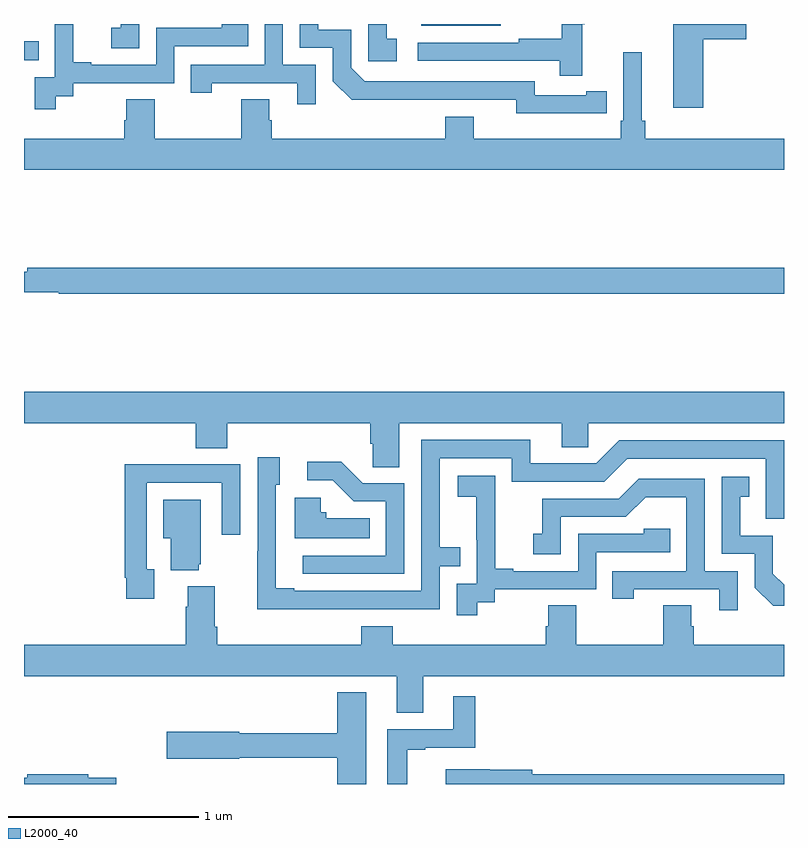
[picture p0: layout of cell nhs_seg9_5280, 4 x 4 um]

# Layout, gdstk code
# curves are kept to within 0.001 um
import gdstk
lib = gdstk.Library(unit=1e-6, precision=1e-09)
def R(c, l, rs):  # rectangles x0, y0, x1, y1
    for r in rs: c.add(gdstk.rectangle(r[:2], r[2:], *l))
def P(c, l, *ps):  # polygons
    for p in ps: c.add(gdstk.Polygon(p, *l))
L2000_40 = (2000, 40)

nhs_seg9_5280 = lib.new_cell('nhs_seg9_5280')
R(nhs_seg9_5280, L2000_40, [(417,1218.309,417.077,1218.41), (419.09,1218.491,419.509,1218.5)])
P(nhs_seg9_5280, L2000_40, [(417.606,1218.5),(417.508,1218.5),(417.508,1218.481),(417.459,1218.481),(417.459,1218.372),(417.606,1218.372)],
  [(417.166,1218.121),(417.258,1218.121),(417.258,1218.189),(417.792,1218.189),(417.792,1218.384),(418.181,1218.384),(418.181,1218.5),(418.041,1218.5),(418.041,1218.48),(417.696,1218.48),(417.696,1218.285),(417.355,1218.285),(417.355,1218.298),(417.26,1218.298),(417.26,1218.5),(417.161,1218.5),(417.161,1218.449),(417.162,1218.449),(417.162,1218.219),(417.057,1218.219),(417.057,1218.051),(417.166,1218.051)],
  [(420.575,1218.419),(420.802,1218.419),(420.802,1218.5),(420.416,1218.5),(420.416,1218.06),(420.575,1218.06)],
  [(418.963,1218.423),(418.91,1218.423),(418.91,1218.5),(418.812,1218.5),(418.812,1218.303),(418.963,1218.303)],
  [(418.536,1218.285),(418.362,1218.285),(418.362,1218.5),(418.266,1218.5),(418.266,1218.285),(417.877,1218.285),(417.877,1218.138),(417.988,1218.138),(417.988,1218.189),(418.439,1218.189),(418.439,1218.078),(418.536,1218.078)],
  [(419.939,1218.499),(419.95,1218.499),(419.95,1218.5),(419.829,1218.5),(419.829,1218.422),(419.605,1218.422),(419.605,1218.402),(419.073,1218.402),(419.073,1218.306),(419.821,1218.306),(419.821,1218.228),(419.939,1218.228)],
  [(419.96,1218.03),(420.068,1218.03),(420.068,1218.146),(419.96,1218.146),(419.96,1218.126),(419.688,1218.126),(419.688,1218.198),(418.794,1218.198),(418.722,1218.27),(418.722,1218.471),(418.549,1218.471),(418.549,1218.5),(418.452,1218.5),(418.452,1218.375),(418.626,1218.375),(418.626,1218.198),(418.724,1218.101),(419.592,1218.102),(419.592,1218.029)],
  [(419.216,1218.013),(419.216,1217.896),(418.304,1217.896),(418.304,1217.994),(418.291,1217.994),(418.291,1218.104),(418.144,1218.104),(418.144,1217.896),(417.687,1217.896),(417.687,1218.104),(417.539,1218.104),(417.539,1217.994),(417.527,1217.994),(417.527,1217.896),(417,1217.896),(417,1217.732),(421,1217.732),(421,1217.896),(420.269,1217.896),(420.269,1217.992),(420.25,1217.992),(420.25,1218.352),(420.153,1218.352),(420.153,1217.992),(420.14,1217.992),(420.14,1217.896),(419.368,1217.896),(419.368,1218.013)],
  [(421,1217.216),(417.016,1217.216),(417.016,1217.197),(417,1217.197),(417,1217.088),(417.182,1217.088),(417.182,1217.08),(421,1217.08)],
  [(418.975,1216.4),(419.831,1216.4),(419.831,1216.273),(419.97,1216.273),(419.97,1216.4),(421,1216.4),(421,1216.564),(417,1216.564),(417,1216.4),(417.905,1216.4),(417.905,1216.267),(418.07,1216.267),(418.07,1216.4),(418.823,1216.4),(418.823,1216.291),(418.836,1216.291),(418.836,1216.168),(418.975,1216.168)],
  [(418.691,1215.42),(419.187,1215.42),(419.187,1215.645),(419.297,1215.645),(419.297,1215.746),(419.187,1215.746),(419.187,1216.215),(419.568,1216.215),(419.568,1216.092),(420.054,1216.092),(420.174,1216.212),(420.903,1216.212),(420.903,1215.897),(421,1215.897),(421,1216.308),(420.132,1216.308),(420.012,1216.188),(419.665,1216.188),(419.665,1216.311),(419.091,1216.311),(419.091,1215.516),(418.423,1215.516),(418.423,1215.529),(418.326,1215.529),(418.326,1216.074),(418.345,1216.074),(418.345,1216.219),(418.23,1216.219),(418.23,1215.725),(418.228,1215.725),(418.228,1215.419)],
  [(419.001,1216.083),(418.782,1216.083),(418.669,1216.196),(418.491,1216.196),(418.491,1216.098),(418.625,1216.098),(418.736,1215.987),(418.905,1215.987),(418.905,1215.702),(418.467,1215.702),(418.467,1215.606),(419.001,1215.606)],
  [(417.685,1215.63),(417.645,1215.63),(417.645,1216.086),(418.041,1216.086),(418.041,1215.813),(418.137,1215.813),(418.137,1216.182),(417.821,1216.182),(417.821,1216.184),(417.529,1216.184),(417.529,1215.586),(417.537,1215.586),(417.537,1215.474),(417.685,1215.474)],
  [(419.386,1215.457),(419.478,1215.457),(419.478,1215.525),(420.012,1215.525),(420.012,1215.72),(420.401,1215.72),(420.401,1215.843),(420.261,1215.843),(420.261,1215.816),(419.916,1215.816),(419.916,1215.621),(419.575,1215.621),(419.575,1215.634),(419.48,1215.634),(419.48,1215.917),(419.481,1215.917),(419.481,1216.123),(419.283,1216.123),(419.283,1216.013),(419.381,1216.013),(419.381,1215.785),(419.382,1215.785),(419.382,1215.555),(419.277,1215.555),(419.277,1215.387),(419.386,1215.387)],
  [(421,1215.548),(420.942,1215.606),(420.942,1215.807),(420.769,1215.807),(420.769,1216.011),(420.818,1216.011),(420.818,1216.117),(420.672,1216.117),(420.672,1215.711),(420.846,1215.711),(420.846,1215.534),(420.944,1215.437),(421,1215.437)],
  [(420.756,1215.621),(420.582,1215.621),(420.582,1216.107),(420.236,1216.107),(420.131,1216.002),(419.728,1216.002),(419.728,1215.817),(419.679,1215.817),(419.679,1215.708),(419.826,1215.708),(419.826,1215.906),(420.168,1215.906),(420.272,1216.01),(420.486,1216.01),(420.486,1215.621),(420.097,1215.621),(420.097,1215.474),(420.208,1215.474),(420.208,1215.525),(420.659,1215.525),(420.659,1215.414),(420.756,1215.414)],
  [(418.82,1215.898),(418.59,1215.898),(418.59,1215.93),(418.563,1215.93),(418.563,1216.006),(418.424,1216.006),(418.424,1215.794),(418.82,1215.794)],
  [(417.92,1215.657),(417.931,1215.657),(417.931,1215.997),(417.734,1215.997),(417.734,1215.794),(417.773,1215.794),(417.773,1215.626),(417.92,1215.626)],
  [(419.101,1215.068),(421,1215.068),(421,1215.232),(420.524,1215.232),(420.524,1215.33),(420.511,1215.33),(420.511,1215.44),(420.364,1215.44),(420.364,1215.232),(419.907,1215.232),(419.907,1215.44),(419.759,1215.44),(419.759,1215.33),(419.747,1215.33),(419.747,1215.232),(418.94,1215.232),(418.94,1215.331),(418.775,1215.331),(418.775,1215.232),(418.016,1215.232),(418.016,1215.328),(418.003,1215.328),(418.003,1215.541),(417.863,1215.541),(417.863,1215.434),(417.851,1215.434),(417.851,1215.232),(417,1215.232),(417,1215.068),(418.961,1215.068),(418.961,1214.874),(419.101,1214.874)],
  [(418.801,1214.983),(418.649,1214.983),(418.649,1214.767),(418.134,1214.767),(418.134,1214.775),(417.75,1214.775),(417.75,1214.633),(418.134,1214.633),(418.134,1214.638),(418.649,1214.638),(418.649,1214.5),(418.801,1214.5)],
  [(419.017,1214.679),(419.113,1214.679),(419.113,1214.691),(419.375,1214.691),(419.375,1214.962),(419.258,1214.962),(419.258,1214.787),(418.913,1214.787),(418.913,1214.5),(419.017,1214.5)],
  [(421,1214.552),(419.674,1214.552),(419.674,1214.576),(419.451,1214.576),(419.451,1214.578),(419.219,1214.578),(419.219,1214.5),(421,1214.5)],
  [(417.485,1214.532),(417.338,1214.532),(417.338,1214.552),(417.016,1214.552),(417.016,1214.533),(417,1214.533),(417,1214.5),(417.485,1214.5)])

lib.write_gds('nhs_seg9_5280.gds')
